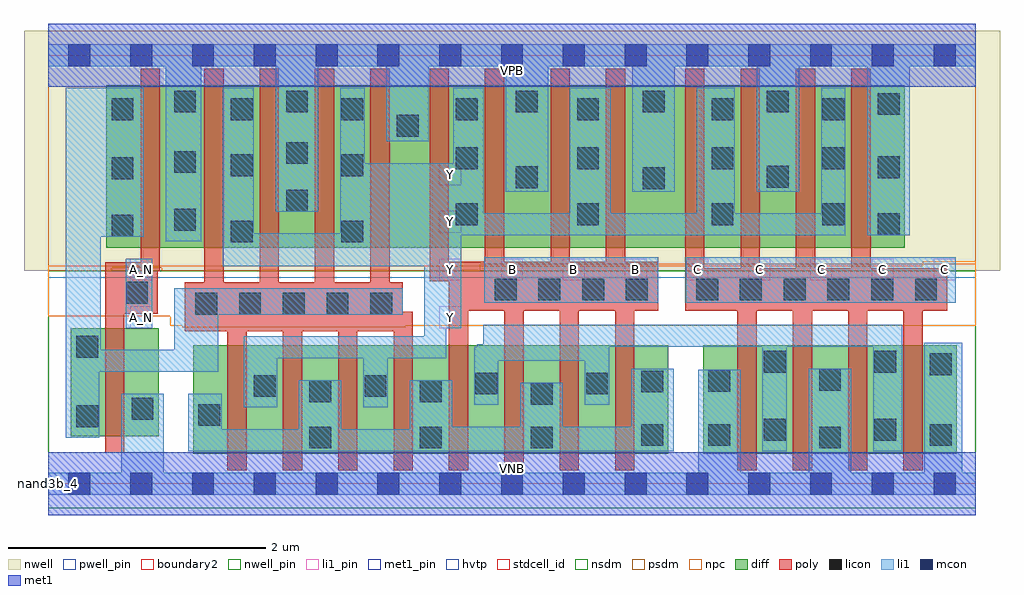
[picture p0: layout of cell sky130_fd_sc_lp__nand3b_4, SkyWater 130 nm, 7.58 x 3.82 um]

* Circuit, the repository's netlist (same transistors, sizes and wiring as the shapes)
* Copyright 2020 The SkyWater PDK Authors
*
* Licensed under the Apache License, Version 2.0 (the "License");
* you may not use this file except in compliance with the License.
* You may obtain a copy of the License at
*
*     https://www.apache.org/licenses/LICENSE-2.0
*
* Unless required by applicable law or agreed to in writing, software
* distributed under the License is distributed on an "AS IS" BASIS,
* WITHOUT WARRANTIES OR CONDITIONS OF ANY KIND, either express or implied.
* See the License for the specific language governing permissions and
* limitations under the License.
*
* SPDX-License-Identifier: Apache-2.0

.SUBCKT sky130_fd_sc_lp__nand3b_4 A_N B C VGND VNB VPB VPWR Y
*.PININFO A_N:I B:I C:I VGND:I VNB:I VPB:I VPWR:I Y:O
MMP0 Y A VPWR VPB sky130_fd_pr__pfet_01v8_hvt m=4 w=1.26U l=0.15U mult=1 sa=0.265
+ sb=0.265 sd=0.28 area=0.063 perim=1.14
MMP1 Y B VPWR VPB sky130_fd_pr__pfet_01v8_hvt m=4 w=1.26U l=0.15U mult=1 sa=0.265
+ sb=0.265 sd=0.28 area=0.063 perim=1.14
MMP2 Y C VPWR VPB sky130_fd_pr__pfet_01v8_hvt m=4 w=1.26U l=0.15U mult=1 sa=0.265
+ sb=0.265 sd=0.28 area=0.063 perim=1.14
MMIP0 A A_N VPWR VPB sky130_fd_pr__pfet_01v8_hvt m=1 w=1.26U l=0.15U mult=1 sa=0.265
+ sb=0.265 sd=0.28 area=0.063 perim=1.14
MMN0 Y A sndA VNB sky130_fd_pr__nfet_01v8 m=4 w=0.84U l=0.15U mult=1 sa=0.265 sb=0.265
+ sd=0.28 area=0.063 perim=1.14
MMN1 sndA B sndB VNB sky130_fd_pr__nfet_01v8 m=4 w=0.84U l=0.15U mult=1 sa=0.265
+ sb=0.265 sd=0.28 area=0.063 perim=1.14
MMN2 sndB C VGND VNB sky130_fd_pr__nfet_01v8 m=4 w=0.84U l=0.15U mult=1 sa=0.265
+ sb=0.265 sd=0.28 area=0.063 perim=1.14
MMIN0 A A_N VGND VNB sky130_fd_pr__nfet_01v8 m=1 w=0.84U l=0.15U mult=1 sa=0.265
+ sb=0.265 sd=0.28 area=0.063 perim=1.14
.ENDS sky130_fd_sc_lp__nand3b_4

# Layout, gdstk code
import gdstk
lib = gdstk.Library(unit=1e-6, precision=1e-09)
def R(c, l, rs):  # rectangles x0, y0, x1, y1
    for r in rs: c.add(gdstk.rectangle(r[:2], r[2:], *l))
def A(c, l, x, y, w, h, nx, ny, dx, dy):  # array of equal rectangles
    R(c, l, [(x+i*dx, y+j*dy, x+i*dx+w, y+j*dy+h) for i in range(nx) for j in range(ny)])
def P(c, l, *ps):  # polygons
    for p in ps: c.add(gdstk.Polygon(p, *l))
nwell_pin = (64, 16)
nwell = (64, 20)
diff = (65, 20)
poly = (66, 20)
licon = (66, 44)
li1_pin = (67, 16)
li1 = (67, 20)
mcon = (67, 44)
met1_pin = (68, 16)
met1 = (68, 20)
hvtp = (78, 44)
stdcell_id = (81, 4)
nsdm = (93, 44)
psdm = (94, 20)
npc = (95, 20)
pwell_pin = (122, 16)
boundary2 = (236, 0)

sky130_fd_sc_lp__nand3b_ = lib.new_cell('sky130_fd_sc_lp__nand3b_4')
R(sky130_fd_sc_lp__nand3b_, nwell_pin, [(0,3.085,7.2,3.33)])
R(sky130_fd_sc_lp__nand3b_, nwell, [(-0.19,1.655,7.39,3.52)])
R(sky130_fd_sc_lp__nand3b_, diff, [(1.125,0.235,4.815,1.075), (5.085,0.235,7.055,1.075), (0.175,0.37,0.855,1.21), (0.45,1.835,6.65,3.095)])
P(sky130_fd_sc_lp__nand3b_, poly, [(0.85,1.65),(0.865,1.65),(0.865,3.225),(0.715,3.225),(0.715,1.72),(0.44,1.72),(0.44,0.24),(0.59,0.24),(0.59,1.32),(0.85,1.32)],
  [(2.83,1.335),(2.75,1.335),(2.75,1.565),(2.65,1.565),(2.65,3.225),(2.5,3.225),(2.5,1.565),(2.22,1.565),(2.22,3.225),(2.07,3.225),(2.07,1.565),(1.79,1.565),(1.79,3.225),(1.64,3.225),(1.64,1.565),(1.36,1.565),(1.36,3.225),(1.21,3.225),(1.21,1.565),(1.06,1.565),(1.06,1.185),(1.39,1.185),(1.39,0.105),(1.54,0.105),(1.54,1.185),(1.82,1.185),(1.82,0.105),(1.97,0.105),(1.97,1.185),(2.25,1.185),(2.25,0.105),(2.4,0.105),(2.4,1.185),(2.68,1.185),(2.68,0.105),(2.83,0.105)],
  [(4.735,1.725),(4.48,1.725),(4.48,3.225),(4.33,3.225),(4.33,1.725),(4.05,1.725),(4.05,3.225),(3.9,3.225),(3.9,1.725),(3.54,1.725),(3.54,3.225),(3.39,3.225),(3.39,1.725),(3.11,1.725),(3.11,3.225),(2.96,3.225),(2.96,1.575),(3.11,1.575),(3.11,0.105),(3.26,0.105),(3.26,1.345),(3.54,1.345),(3.54,0.105),(3.69,0.105),(3.69,1.345),(3.97,1.345),(3.97,0.105),(4.12,0.105),(4.12,1.345),(4.4,1.345),(4.4,0.105),(4.55,0.105),(4.55,1.345),(4.735,1.345)],
  [(6.98,1.675),(6.385,1.675),(6.385,3.225),(6.235,3.225),(6.235,1.675),(5.955,1.675),(5.955,3.225),(5.805,3.225),(5.805,1.675),(5.525,1.675),(5.525,3.225),(5.375,3.225),(5.375,1.675),(5.095,1.675),(5.095,3.225),(4.945,3.225),(4.945,1.345),(5.35,1.345),(5.35,0.105),(5.5,0.105),(5.5,1.345),(5.78,1.345),(5.78,0.105),(5.93,0.105),(5.93,1.345),(6.21,1.345),(6.21,0.105),(6.36,0.105),(6.36,1.345),(6.64,1.345),(6.64,0.105),(6.79,0.105),(6.79,1.345),(6.98,1.345)])
A(sky130_fd_sc_lp__nand3b_, licon, 2.025, 0.275, 0.17, 0.17, 3, 1, 0.86, 0)
A(sky130_fd_sc_lp__nand3b_, licon, 1.14, 1.315, 0.17, 0.17, 5, 1, 0.34, 0)
A(sky130_fd_sc_lp__nand3b_, licon, 3.465, 1.425, 0.17, 0.17, 4, 1, 0.34, 0)
A(sky130_fd_sc_lp__nand3b_, licon, 5.03, 1.425, 0.17, 0.17, 6, 1, 0.34, 0)
R(sky130_fd_sc_lp__nand3b_, licon, [(5.985,0.275,6.155,0.445), (4.605,0.295,4.775,0.465), (5.125,0.295,5.295,0.465), (6.845,0.295,7.015,0.465), (5.555,0.335,5.725,0.505), (6.415,0.335,6.585,0.505), (0.215,0.44,0.385,0.61), (1.165,0.45,1.335,0.62), (0.645,0.5,0.815,0.67), (3.745,0.615,3.915,0.785), (2.025,0.635,2.195,0.805), (2.885,0.635,3.055,0.805), (1.595,0.675,1.765,0.845), (2.455,0.675,2.625,0.845), (3.315,0.695,3.485,0.865), (4.175,0.695,4.345,0.865), (4.605,0.71,4.775,0.88), (5.125,0.715,5.295,0.885), (5.985,0.725,6.155,0.895), (6.845,0.845,7.015,1.015), (5.555,0.865,5.725,1.035), (6.415,0.865,6.585,1.035), (0.215,0.98,0.385,1.15), (0.6,1.4,0.77,1.57), (1.415,1.875,1.585,2.045), (2.275,1.875,2.445,2.045), (0.49,1.92,0.66,2.09), (6.44,1.93,6.61,2.1), (0.975,1.965,1.145,2.135), (3.165,2.01,3.335,2.18), (4.105,2.01,4.275,2.18), (5.15,2.01,5.32,2.18), (6.01,2.01,6.18,2.18), (1.845,2.115,2.015,2.285), (4.615,2.29,4.785,2.46), (3.63,2.295,3.8,2.465), (5.58,2.3,5.75,2.47), (0.49,2.365,0.66,2.535), (6.44,2.375,6.61,2.545), (1.415,2.39,1.585,2.56), (2.275,2.39,2.445,2.56), (0.975,2.415,1.145,2.585), (3.165,2.445,3.335,2.615), (4.105,2.445,4.275,2.615), (5.15,2.445,5.32,2.615), (6.01,2.445,6.18,2.615), (1.845,2.485,2.015,2.655), (2.705,2.695,2.875,2.865), (0.49,2.825,0.66,2.995), (1.415,2.825,1.585,2.995), (2.275,2.825,2.445,2.995), (3.165,2.825,3.335,2.995), (4.105,2.825,4.275,2.995), (5.15,2.825,5.32,2.995), (6.01,2.825,6.18,2.995), (6.44,2.865,6.61,3.035), (0.975,2.885,1.145,3.055), (1.845,2.885,2.015,3.055), (3.63,2.885,3.8,3.055), (4.615,2.885,4.785,3.055), (5.58,2.885,5.75,3.055)])
A(sky130_fd_sc_lp__nand3b_, li1_pin, 3.035, 1.58, 0.17, 0.17, 9, 1, 0.48, 0)
R(sky130_fd_sc_lp__nand3b_, li1_pin, [(0.635,1.21,0.805,1.38), (3.035,1.21,3.205,1.38), (0.635,1.58,0.805,1.75), (3.035,1.95,3.205,2.12), (3.035,2.32,3.205,2.49)])
R(sky130_fd_sc_lp__nand3b_, li1, [(0.6,1.21,0.805,1.75), (3.385,1.405,4.735,1.76), (4.95,1.405,7.045,1.76)])
P(sky130_fd_sc_lp__nand3b_, li1, [(2.75,1.52),(0.975,1.52),(0.975,1.04),(0.405,1.04),(0.405,1.92),(0.74,1.92),(0.74,3.075),(0.135,3.075),(0.135,0.36),(0.395,0.36),(0.395,0.87),(1.32,0.87),(1.32,1.315),(2.75,1.315)],
  [(4.855,0.895),(4.525,0.895),(4.525,0.445),(3.995,0.445),(3.995,0.785),(3.665,0.785),(3.665,0.445),(3.135,0.445),(3.135,0.805),(2.805,0.805),(2.805,0.425),(2.275,0.425),(2.275,0.805),(1.945,0.805),(1.945,0.425),(1.345,0.425),(1.345,0.7),(1.085,0.7),(1.085,0.255),(4.855,0.255)],
  [(6.19,3.075),(6,3.075),(6,2.1),(5.33,2.1),(5.33,3.075),(5.035,3.075),(5.035,2.1),(4.365,2.1),(4.365,3.075),(4.05,3.075),(4.05,2.1),(3.38,2.1),(3.38,3.075),(3.145,3.075),(3.145,2.49),(2.455,2.49),(2.455,3.075),(2.265,3.075),(2.265,1.945),(1.595,1.945),(1.595,3.075),(1.355,3.075),(1.355,1.69),(2.92,1.69),(2.92,1.145),(1.515,1.145),(1.515,0.595),(1.775,0.595),(1.775,0.975),(2.445,0.975),(2.445,0.595),(2.635,0.595),(2.635,0.975),(3.09,0.975),(3.09,1.21),(3.205,1.21),(3.205,1.93),(6.19,1.93)],
  [(6.63,1.235),(3.375,1.235),(3.375,1.085),(3.33,1.085),(3.33,1.065),(3.305,1.065),(3.305,0.615),(3.495,0.615),(3.495,0.955),(4.165,0.955),(4.165,0.615),(4.355,0.615),(4.355,1.065),(5.545,1.065),(5.545,0.255),(5.735,0.255),(5.735,1.065),(6.405,1.065),(6.405,0.255),(6.63,0.255)],
  [(7.2,3.415),(0,3.415),(0,3.245),(0.91,3.245),(0.91,1.885),(1.185,1.885),(1.185,3.245),(1.765,3.245),(1.765,2.115),(2.095,2.115),(2.095,3.245),(2.625,3.245),(2.625,2.66),(2.955,2.66),(2.955,3.245),(3.55,3.245),(3.55,2.27),(3.88,2.27),(3.88,3.245),(4.535,3.245),(4.535,2.27),(4.865,2.27),(4.865,3.245),(5.5,3.245),(5.5,2.27),(5.83,2.27),(5.83,3.245),(6.36,3.245),(6.36,1.93),(6.69,1.93),(6.69,3.245),(7.2,3.245)],
  [(7.2,0.085),(7.095,0.085),(7.095,1.095),(6.8,1.095),(6.8,0.085),(6.235,0.085),(6.235,0.895),(5.905,0.895),(5.905,0.085),(5.375,0.085),(5.375,0.885),(5.045,0.885),(5.045,0.085),(0.895,0.085),(0.895,0.7),(0.565,0.7),(0.565,0.085),(0,0.085),(0,-0.085),(7.2,-0.085)])
A(sky130_fd_sc_lp__nand3b_, mcon, 0.155, -0.085, 0.17, 0.17, 15, 2, 0.48, 3.33)
R(sky130_fd_sc_lp__nand3b_, met1_pin, [(0,0,7.2,0.245), (0,3.085,7.2,3.33)])
R(sky130_fd_sc_lp__nand3b_, met1, [(0,-0.245,7.2,0.245), (0,3.085,7.2,3.575)])
R(sky130_fd_sc_lp__nand3b_, hvtp, [(0,1.6,7.2,3.33)])
R(sky130_fd_sc_lp__nand3b_, stdcell_id, [(0,0,7.2,3.33)])
R(sky130_fd_sc_lp__nand3b_, nsdm, [(0,-0.19,7.2,1.655)])
P(sky130_fd_sc_lp__nand3b_, psdm, [(7.2,3.52),(0,3.52),(0,1.655),(0.49,1.655),(0.49,1.68),(0.88,1.68),(0.88,1.655),(3.355,1.655),(3.355,1.705),(7.2,1.705)])
P(sky130_fd_sc_lp__nand3b_, npc, [(7.2,1.73),(6.79,1.73),(6.79,1.695),(0,1.695),(0,1.3),(0.945,1.3),(0.945,1.23),(1.04,1.23),(1.04,1.215),(2.77,1.215),(2.77,1.23),(7.2,1.23)])
R(sky130_fd_sc_lp__nand3b_, pwell_pin, [(0,0,7.2,0.245)])
R(sky130_fd_sc_lp__nand3b_, boundary2, [(0,0,7.2,3.33)])
sky130_fd_sc_lp__nand3b_.add(gdstk.Label('VNB', (3.6,0.123), layer=64, texttype=59))
sky130_fd_sc_lp__nand3b_.add(gdstk.Label('VPB', (3.6,3.208), layer=64, texttype=5))
sky130_fd_sc_lp__nand3b_.add(gdstk.Label('nand3b_4', (0,0), layer=83, texttype=44))
sky130_fd_sc_lp__nand3b_.add(gdstk.Label('VPWR', (3.6,3.208), layer=68, texttype=5))
sky130_fd_sc_lp__nand3b_.add(gdstk.Label('VGND', (3.6,0.123), layer=68, texttype=5))
sky130_fd_sc_lp__nand3b_.add(gdstk.Label('B', (3.6,1.665), layer=67, texttype=5))
sky130_fd_sc_lp__nand3b_.add(gdstk.Label('B', (4.08,1.665), layer=67, texttype=5))
sky130_fd_sc_lp__nand3b_.add(gdstk.Label('B', (4.56,1.665), layer=67, texttype=5))
sky130_fd_sc_lp__nand3b_.add(gdstk.Label('A_N', (0.72,1.295), layer=67, texttype=5))
sky130_fd_sc_lp__nand3b_.add(gdstk.Label('A_N', (0.72,1.665), layer=67, texttype=5))
sky130_fd_sc_lp__nand3b_.add(gdstk.Label('Y', (3.12,1.295), layer=67, texttype=5))
sky130_fd_sc_lp__nand3b_.add(gdstk.Label('Y', (3.12,1.665), layer=67, texttype=5))
sky130_fd_sc_lp__nand3b_.add(gdstk.Label('Y', (3.12,2.035), layer=67, texttype=5))
sky130_fd_sc_lp__nand3b_.add(gdstk.Label('Y', (3.12,2.405), layer=67, texttype=5))
sky130_fd_sc_lp__nand3b_.add(gdstk.Label('C', (5.04,1.665), layer=67, texttype=5))
sky130_fd_sc_lp__nand3b_.add(gdstk.Label('C', (5.52,1.665), layer=67, texttype=5))
sky130_fd_sc_lp__nand3b_.add(gdstk.Label('C', (6,1.665), layer=67, texttype=5))
sky130_fd_sc_lp__nand3b_.add(gdstk.Label('C', (6.48,1.665), layer=67, texttype=5))
sky130_fd_sc_lp__nand3b_.add(gdstk.Label('C', (6.96,1.665), layer=67, texttype=5))

lib.write_gds('sky130_fd_sc_lp__nand3b_4.gds')
